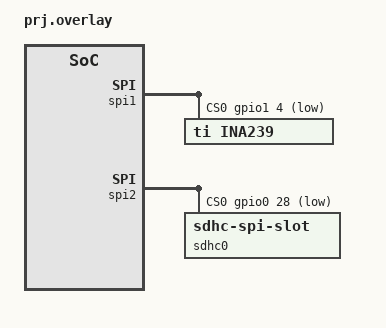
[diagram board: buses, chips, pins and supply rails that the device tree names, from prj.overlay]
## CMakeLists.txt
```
# SPDX-License-Identifier: Apache-2.0

cmake_minimum_required(VERSION 3.20.0)

find_package(Zephyr REQUIRED HINTS $ENV{ZEPHYR_BASE})
project(hello_world)

FILE(GLOB root src/*.c)
FILE(GLOB toolkits src/toolkits/*.c)

target_sources(app PRIVATE
  ${root}
  ${toolkits}
)

zephyr_library_include_directories(.)
zephyr_library_include_directories(./src)
zephyr_library_include_directories(./src/toolkits)
```

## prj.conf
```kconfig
#LOGS
CONFIG_LOG=n
CONFIG_UART_CONSOLE=n
CONFIG_SERIAL=n
CONFIG_LOG_MODE_IMMEDIATE=n
CONFIG_NEWLIB_LIBC=n
CONFIG_NEWLIB_LIBC_FLOAT_PRINTF=n
CONFIG_CBPRINTF_FP_SUPPORT=n
# CONFIG_ASSERT=y

#BT
CONFIG_BT=y
CONFIG_BT_PERIPHERAL=y
CONFIG_BT_DEVICE_NAME="RS-GATE"

#UART

CONFIG_NRFX_UARTE1=n
CONFIG_UART_INTERRUPT_DRIVEN=n
CONFIG_UART_1_INTERRUPT_DRIVEN=n


# Enable SPI driver
CONFIG_SPI=n

# Enable GPIO for Chip Select
CONFIG_DK_LIBRARY=n
CONFIG_GPIO=y
CONFIG_NRFX_SPI1=n
CONFIG_HEAP_MEM_POOL_SIZE=2048
CONFIG_MAIN_STACK_SIZE=4096
CONFIG_SYSTEM_WORKQUEUE_STACK_SIZE=2048
CONFIG_MAIN_THREAD_PRIORITY=10

#RTC
CONFIG_NRFX_RTC2=n
CONFIG_PM=n
CONFIG_PM_DEVICE=n


#SD CARD
CONFIG_NRFX_SPI2=n
CONFIG_DISK_ACCESS=n
CONFIG_FILE_SYSTEM=n
CONFIG_FAT_FILESYSTEM_ELM=n
CONFIG_MMC_STACK=n
# CONFIG_SD_LOG_LEVEL_DEFAULT=n
CONFIG_RING_BUFFER=n
CONFIG_SPI_NRFX_RAM_BUFFER_SIZE=1024
CONFIG_SDHC=n
CONFIG_SDHC_LOG_LEVEL_DEFAULT=n

# Konfiguracja Flash z # Włączenie wsparcia USB
CONFIG_USB_DEVICE_STACK=n
CONFIG_USB_CDC_ACM=n

# Konfiguracja logowania przez USB
CONFIG_LOG=n
CONFIG_LOG_DEFAULT_LEVEL=3

# Wsparcie dla sterownika CDC ACM (Virtual COM Port)
CONFIG_UART_CONSOLE=n
# Wyłączenie logów
CONFIG_LOG=n
CONFIG_LOG_BACKEND_UART=n

# Wyłączenie konsoli UART
CONFIG_CONSOLE=n
CONFIG_UART_CONSOLE=n
CONFIG_USE_SEGGER_RTT=n

# Wyłączenie powiązanych funkcji powiadamiania błędów
CONFIG_PRINTK=n
CONFIG_EARLY_CONSOLE=n
```

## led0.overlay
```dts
&led0_green {
    gpios = <&gpio0 13 GPIO_ACTIVE_HIGH>;
};
```

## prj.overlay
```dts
&spi1 {
    status = "okay";
    compatible = "nordic,nrf-spi";
    
    pinctrl-0 = <&spi1_default>;
    pinctrl-1 = <&spi1_sleep>;
    pinctrl-names = "default", "sleep";

    cs-gpios = <&gpio1 4 (GPIO_ACTIVE_LOW | GPIO_PULL_UP)>; /* P1.04 as Chip Select (CS) */

    ina239: ina239@0 {
        compatible = "ti,ina239";
        reg = <0>;
        status = "okay";
        spi-max-frequency = <0x80000000UL>; /* 8 MHz */
    };
};

&spi1_default {
    group1 {
        psels = <NRF_PSEL(SPIM_SCK, 1, 1)>,  /* P1.01 -> CLK (SCK) */
                <NRF_PSEL(SPIM_MOSI, 1, 3)>, /* P1.03 -> MOSI */
                <NRF_PSEL(SPIM_MISO, 1, 2)>; /* P1.02 -> MISO */
    };
};

&spi1_sleep {
    group1 { 
        psels = <NRF_PSEL(SPIM_SCK, 1, 1)>,  /* P1.01 -> CLK (SCK) */
                <NRF_PSEL(SPIM_MOSI, 1, 3)>, /* P1.03 -> MOSI */
                <NRF_PSEL(SPIM_MISO, 1, 2)>; /* P1.02 -> MISO */
    };
};


&spi2 {
    status = "okay";
    compatible = "nordic,nrf-spi";
    
    pinctrl-0 = <&spi2_default>;
    pinctrl-1 = <&spi2_sleep>;
    pinctrl-names = "default", "sleep";

    cs-gpios = <&gpio0 28 (GPIO_ACTIVE_LOW | GPIO_PULL_UP) >; /* P0.28 as Chip Select (CS) */

    sdhc0: sdhc@0 {
        compatible = "zephyr,sdhc-spi-slot";
        reg = <0>;
        status = "okay";
        mmc {
            compatible = "zephyr,sdmmc-disk";
            status = "okay";
        };
        spi-max-frequency = <0x80000000UL>;
    };
};

&spi2_default {
    group1 {
        psels = <NRF_PSEL(SPIM_SCK, 0, 30)>,  /* P0.30 -> CLK (SCK) */
                <NRF_PSEL(SPIM_MOSI, 0, 29)>, /* P0.29 -> MOSI */
                <NRF_PSEL(SPIM_MISO, 0, 31)>; /* P0.31 -> MISO */
    };
};

&spi2_sleep {
    group1 { 
        psels = <NRF_PSEL(SPIM_SCK, 0, 30)>,  /* P0.30 -> CLK (SCK) */
                <NRF_PSEL(SPIM_MOSI, 0, 29)>, /* P0.29 -> MOSI */
                <NRF_PSEL(SPIM_MISO, 0, 31)>; /* P0.31 -> MISO */
    };
};
```

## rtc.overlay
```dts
/ {
    aliases {
        rtc2 = &rtc2;
    };
};

&rtc2 {
    status="okay";
};

/ {
    chosen {
             /delete-property/ zephyr,shell-uart;
             /delete-property/ zephyr,uart-mcumgr;
             /delete-property/ zephyr,bt-mon-uart;
    };
};
```

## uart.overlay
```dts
&uart1 {
    status = "okay";
    current-speed = <921600>;
    pinctrl-0 = <&uart1_default>;
    pinctrl-1 = <&uart1_sleep>;
    pinctrl-names = "default", "sleep";
};

&uart1_default {
    group1 {
        psels = <NRF_PSEL(UART_RX, 1, 10)>;
        bias-pull-up;
    };
    group2 {
        psels = <NRF_PSEL(UART_TX, 1, 11)>;
    };
};

&uart1_sleep {
    group1 {
        psels = <NRF_PSEL(UART_RX, 1, 10)>,
            <NRF_PSEL(UART_TX, 1, 11)>;
        low-power-enable;
    };
};
```

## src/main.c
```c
/* ============================================================================================== */
/*                                            INCLUDES                                            */
#include <zephyr/kernel.h>
#include <zephyr/device.h>
#include <zephyr/drivers/spi.h>
#include <zephyr/logging/log.h>
#include "ina239.h"
#include "sd_card.h"
#include "bt_api.h"
#include "rtc_api.h"
#include "uart_api.h"
#include <dk_buttons_and_leds.h>
#include <zephyr/drivers/gpio.h>
/* ============================================================================================== */

/* ============================================================================================== */
/*                                        DEFINES/TYPEDEFS                                        */
#define ALARM_PERIOD_SECONDS 300
#define MAX_MEASUREMENT_TIME 120 // must be shorter than ALARM_PERIOD_SECONDS
#define LED0_NODE DT_ALIAS(led0)

/* ============================================================================================== */
/*                                   PRIVATE FUNCTION DEFINITIONS                                 */
static void button_changed_callback(uint32_t button_state, uint32_t has_changed);
static void button_hold_handle(struct k_work *work);
static void measurement_timeout_handle(struct k_work *work);
static int app_rtc_epoch_update(uint32_t epoch);
static void rtc_cb_triggered(void);
static void read_set_off(void);
static void read_set_on(void);
static void toggle_led(void);

/* ============================================================================================== */
/*                                        PRIVATE VARIABLES                                       */
static ATOMIC_DEFINE(reading, 1);
static struct k_work_delayable button_hold_work;
static uint32_t start_timestamp = 0;
static uint32_t stop_timestamp = 0;
static K_WORK_DELAYABLE_DEFINE(measurement_timeout, measurement_timeout_handle);
static bool timeout = false;
static const struct gpio_dt_spec led = GPIO_DT_SPEC_GET(LED0_NODE, gpios);

LOG_MODULE_REGISTER(main, LOG_LEVEL_DBG);
/* ============================================================================================== */
/*                                        PUBLIC FUNCTIONS                                        */


int main(void)
{
    int err;
    uint16_t current_raw;
    uint8_t data_buffer[256] = {0};
 
    if (!gpio_is_ready_dt(&led)) {
		return 0;
	}

	err = gpio_pin_configure_dt(&led, GPIO_OUTPUT_LOW);
	if (err < 0) {
		return 0;
	}

    gpio_pin_set_dt(&led, 0);
    // err = dk_buttons_init(button_changed_callback);
    // if (err)
    // {
    //     LOG_ERR("Failed to initialize buttons (err %d)", err);
    //     return err;
    // }

    // err = dk_leds_init();
    // if (err)
    // {
    //     LOG_ERR("Failed to initialize LEDs (err %d)", err);
    //     return err;
    // }

    // err = rtc_init();
    // if (err)
    // {
    //     LOG_ERR("Failed to initialize RTC (err %d)", err);
    //     return err;
    // }

    // err = uart_init();
    // if (err)
    // {
    //     LOG_ERR("Failed to initialize UART (err %d)", err);
    //     return err;
    // }

    // rtc_alarm_cb_register(rtc_cb_triggered);


    // k_work_init_delayable(&button_hold_work, button_hold_handle);
    err = bt_init(app_rtc_epoch_update, rtc_get_epoch);
    if (err)
        LOG_ERR("bt_init error %d", err);

    bt_adv_start();

    // err = sd_card_init();
    // if (!err)
    //     LOG_INF("Init success!");

    // err = ina239_init();
    // if (err)
    //     LOG_ERR("ina239_init returned %d", err);

    // LOG_INF("Shunt calibrated successfully");

    while (1) 
    {
        // while (uart_wait_for_msg(data_buffer, sizeof(data_buffer), K_NO_WAIT) && atomic_get(reading))
        // {
        //     current_raw = ina239_get_value();
        //     if (current_raw)
        //         sd_card_write(&current_raw, sizeof(current_raw));
        //     k_yield();
        // }
        // if (strlen(data_buffer) || timeout)
        // {
        //     if (timeout)
        //         snprintk(data_buffer, sizeof(data_buffer), "FAIL");

        //     LOG_DBG("Got msg: %s", data_buffer);
        //     sd_card_direct_write(data_buffer, strlen(data_buffer));
            
        //     read_set_off();
        //     stop_timestamp = rtc_get_epoch();

        //     k_work_cancel_delayable(&measurement_timeout);
        //     rtc_set_alarm_for(ALARM_PERIOD_SECONDS - (stop_timestamp - start_timestamp));
        //     memset(data_buffer, 0 , sizeof(data_buffer));
        //     timeout = false;
        // }
        k_msleep(10000);
    }

    return 0;
}

/* ============================================================================================== */
/*                                         PRIVATE FUNCTIONS                                      */
static void toggle_led(void) {
    static bool led_on = false; // Stan LED (włączony/wyłączony)

    if (led_on) {
        gpio_pin_set_dt(&led, 0);
    } else {
        gpio_pin_set_dt(&led, 1);
    }

    led_on = !led_on; // Przełącz stan LED
}

// static void measurement_timeout_handle(struct k_work *work)
// {
//     if (atomic_get(reading))
//     {
//         timeout = true;
//         read_set_off();
//         uart_print("STOP\n", sizeof("STOP"));
//         return;
//     }
//     else
//     {
//         LOG_INF("RTC ALARM TRIGGERED: %u", start_timestamp);
//         uart_print("START\n", sizeof("START"));
//         read_set_on();
//         k_work_schedule(work, K_SECONDS(MAX_MEASUREMENT_TIME));
//     }
// }

static int app_rtc_epoch_update(uint32_t epoch)
{
    // rtc_set_alarm_for(5); // Set for sync
    // return rtc_epoch_update(epoch);
    toggle_led();
    k_msleep(1000);
    toggle_led();
}

// static void read_set_off(void)
// {
//     ina239_power(false);
//     atomic_set(reading, false);
//     dk_set_led(DK_LED1, false);
//     LOG_DBG("New reading state: stopped");
// }

// static void read_set_on(void)
// {
//     ina239_power(true);
//     atomic_set(reading, true);
//     dk_set_led(DK_LED1, true);
//     LOG_DBG("New reading state: reading");
// }

// static void button_changed_callback(uint32_t button_state, uint32_t has_changed)
// {
//     if ((has_changed & DK_BTN1_MSK) && (button_state & DK_BTN1_MSK))
//     {
//         if (atomic_get(reading))
//             read_set_off();
//         else
//             read_set_on();
//     }
//     else if ((has_changed & DK_BTN2_MSK))
//     {
//         if ((button_state & DK_BTN2_MSK))
//             k_work_schedule(&button_hold_work, K_SECONDS(2));
//         else
//             k_work_cancel_delayable(&button_hold_work);
//     }
//     else if ((has_changed & DK_BTN3_MSK))
//     {
//         if ((button_state & DK_BTN3_MSK))
//         {
//             LOG_DBG("RTC SET %d", rtc_get_epoch());
//             rtc_set_alarm_for(10); 
//         }
//     }
//     else if ((has_changed & DK_BTN4_MSK))
//     {
//         if ((button_state & DK_BTN4_MSK))
//             k_work_schedule(&button_hold_work, K_SECONDS(5));
//         else
//             k_work_cancel_delayable(&button_hold_work);
//     }
// }

// static void button_hold_handle(struct k_work *work)
// {
//     uint32_t buttons = dk_get_buttons();

//     if ((buttons & DK_BTN4_MSK))
//     {
//         dk_set_led_on(DK_LED4);
//         sd_card_erase();
//         dk_set_led_off(DK_LED4);
//         NVIC_SystemReset();
//     }
//     else if ((buttons & DK_BTN2_MSK))
//         bt_adv_start();
// }

// static void rtc_cb_triggered(void)
// {
//     start_timestamp = rtc_get_epoch();
//     uint32_t remainder = start_timestamp % ALARM_PERIOD_SECONDS;
//     if (0 == remainder)
//     {
//         k_work_schedule(&measurement_timeout, K_NO_WAIT);
//         return;
//     }
//     // Autosync mechanism
//     LOG_DBG("Reset RTC for %u",ALARM_PERIOD_SECONDS - remainder);
//     rtc_set_alarm_for(ALARM_PERIOD_SECONDS - remainder);

// }
```
